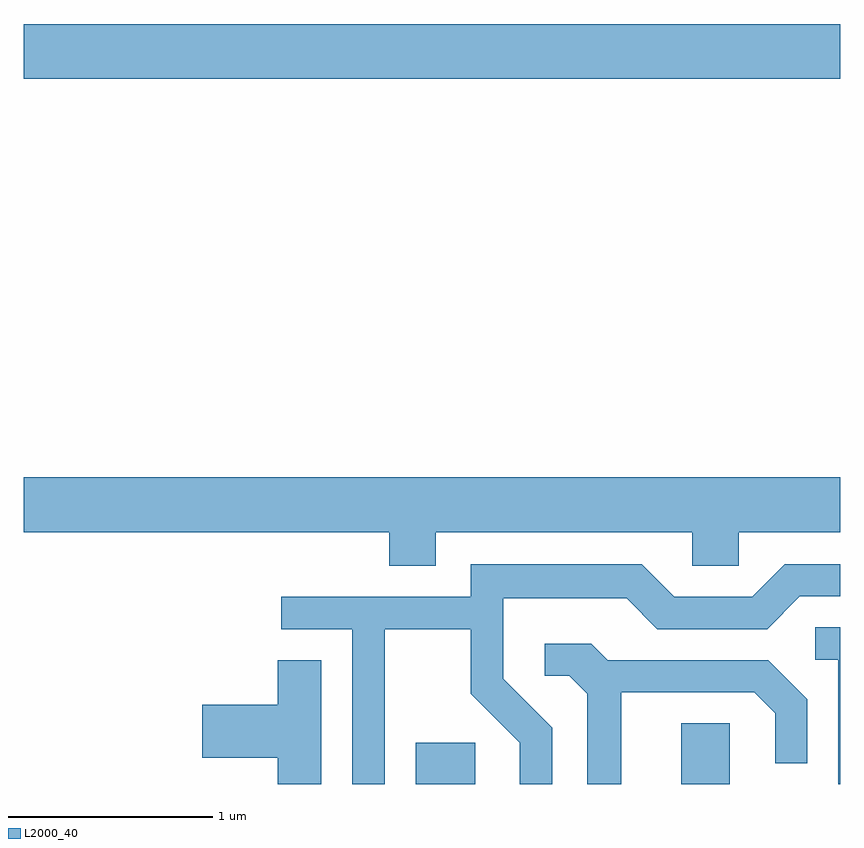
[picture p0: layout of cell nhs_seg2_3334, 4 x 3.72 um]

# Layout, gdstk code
import gdstk
lib = gdstk.Library(unit=1e-6, precision=1e-09)
def R(c, l, rs):  # rectangles x0, y0, x1, y1
    for r in rs: c.add(gdstk.rectangle(r[:2], r[2:], *l))
def P(c, l, *ps):  # polygons
    for p in ps: c.add(gdstk.Polygon(p, *l))
L2000_40 = (2000, 40)

nhs_seg2_3334 = lib.new_cell('nhs_seg2_3334')
R(nhs_seg2_3334, L2000_40, [(285.531,993.802,285.824,994.004), (286.831,993.802,287.069,994.099), (283.611,997.256,287.611,997.524)])
P(nhs_seg2_3334, L2000_40, [(285.629,995.036),(286.886,995.036),(286.886,994.871),(287.114,994.871),(287.114,995.036),(287.611,995.036),(287.611,995.304),(283.611,995.304),(283.611,995.036),(285.401,995.036),(285.401,994.871),(285.629,994.871)],
  [(285.379,994.561),(285.801,994.561),(285.801,994.244),(286.041,994.004),(286.041,993.802),(286.199,993.802),(286.199,994.077),(285.959,994.317),(285.959,994.711),(286.564,994.711),(286.714,994.561),(287.252,994.561),(287.412,994.721),(287.611,994.721),(287.611,994.879),(287.339,994.879),(287.179,994.719),(286.797,994.719),(286.637,994.879),(285.801,994.879),(285.801,994.719),(284.873,994.719),(284.873,994.561),(285.221,994.561),(285.221,993.802),(285.379,993.802)],
  [(287.611,994.569),(287.488,994.569),(287.488,994.411),(287.601,994.411),(287.601,993.802),(287.611,993.802)],
  [(286.539,994.251),(287.189,994.251),(287.291,994.149),(287.291,993.903),(287.449,993.903),(287.449,994.217),(287.257,994.409),(286.472,994.409),(286.392,994.489),(286.163,994.489),(286.163,994.331),(286.284,994.331),(286.371,994.244),(286.371,993.802),(286.539,993.802)],
  [(285.069,994.409),(284.856,994.409),(284.856,994.189),(284.486,994.189),(284.486,993.931),(284.856,993.931),(284.856,993.802),(285.069,993.802)])

lib.write_gds('nhs_seg2_3334.gds')
